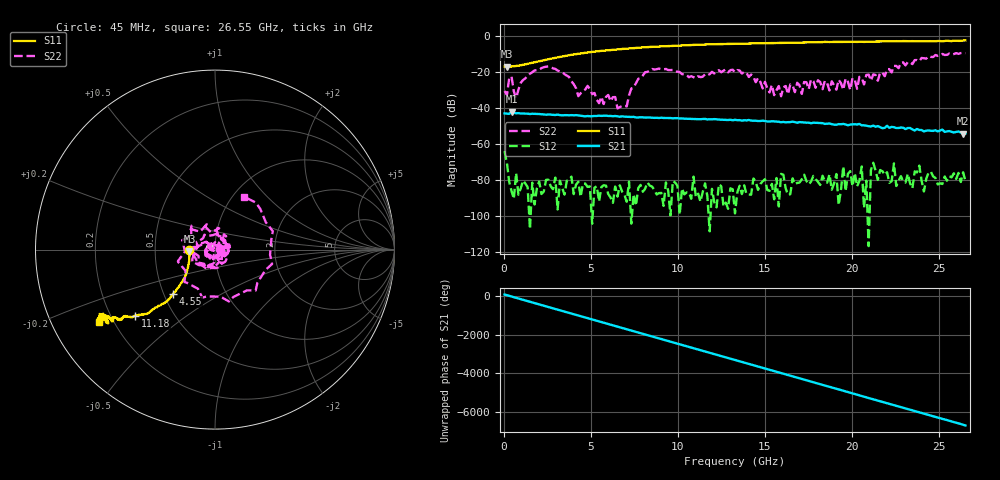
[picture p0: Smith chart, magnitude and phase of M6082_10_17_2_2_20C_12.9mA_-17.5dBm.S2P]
!  2-Port S-parameters saved by WinCal
! VAR MeasName=S-Parameters (CALIBRATED_DATA) read from VNA (C)
! VAR MeasDate=10/16/2015 4:00:51 PM
! VAR NAME=M6082_10_17_2_2_20C_12.9mA_-17.5dBm
! VAR FILENAME=M6082_10_17_2_2_20C_12.9mA_-17.5dBm.S2P
! VAR DATE=10/16/2015 4:00:52 PM
! VAR PHYS_PORTS=2,1
! VAR ObjTypeName=DATASET
! VAR IndexType=Frequency
# Hz S RI R 50
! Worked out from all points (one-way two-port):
!   201 points, 45 MHz to 26.55 GHz, reference 50 ohm
!   highest |S21| = -42.02 dB at 442.5 MHz (marker M1); lowest = -54.1 dB at 26.41 GHz (marker M2)
!   lowest |S11| = -16.9 dB at 177.5 MHz (marker M3), VSWR 1.33, Z = 37.5 - j0.688 ohm
!   |S11| at or under -10 dB: start of sweep to 4.129 GHz
!   |S22| runs from -40.1 to -9.2 dB; largest |S21 - S12| = 0.0079
!   S11 on the Smith chart (normalised r, x): 45 MHz: 0.75, -0.00; 4.55 GHz: 0.56, -0.31; 11.18 GHz: 0.30, -0.33; 26.55 GHz: 0.15, -0.28
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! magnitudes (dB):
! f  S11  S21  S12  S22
! 45 MHz  -16.8  -42.9  -63.9  -30.5
! 177.5 MHz  -16.9  -43.0  -70.4  -32.8
! 442.5 MHz  -16.8  -42.0  -86.0  -22.4
! 707.5 MHz  -16.6  -42.8  -76.1  -34.5
! 2.43 GHz  -13.1  -43.6  -79.8  -17.0
! 4.55 GHz  -9.4  -44.4  -81.9  -30.3
! 7.067 GHz  -7.0  -44.8  -92.0  -39.0
! 7.73 GHz  -6.4  -45.2  -84.5  -23.7
! 8.922 GHz  -5.7  -45.5  -87.2  -18.0
! 11.18 GHz  -4.8  -46.1  -87.5  -22.3
! 13.29 GHz  -4.2  -46.5  -98.4  -20.0
! 15.95 GHz  -3.7  -47.8  -76.5  -33.4
! 17.8 GHz  -3.5  -48.1  -77.6  -25.0
! 20.45 GHz  -3.1  -48.7  -80.3  -22.6
! 20.58 GHz  -3.1  -49.6  -72.4  -23.1
! 20.98 GHz  -3.1  -50.0  -116.7  -21.3
! 21.25 GHz  -3.1  -49.7  -70.3  -21.2
! 22.17 GHz  -2.9  -50.9  -81.5  -18.3
! 22.44 GHz  -2.8  -50.6  -70.7  -16.5
! 22.57 GHz  -2.8  -51.0  -83.2  -16.6
! 26.41 GHz  -2.4  -54.1  -75.6  -9.2
! 26.55 GHz  -2.4  -54.1  -80.4  -9.5
